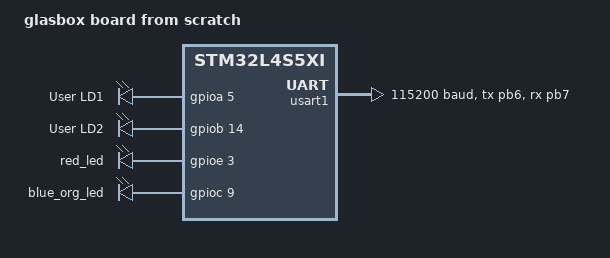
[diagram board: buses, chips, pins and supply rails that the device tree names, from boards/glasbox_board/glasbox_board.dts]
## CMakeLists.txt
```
cmake_minimum_required(VERSION 3.20.0)

list(APPEND BOARD_ROOT ${CMAKE_CURRENT_SOURCE_DIR})
find_package(Zephyr REQUIRED)
project(my_zephyr_app)

target_sources(app PRIVATE src/main.cpp)

target_include_directories(app PRIVATE drivers)
add_subdirectory(drivers/my_driver)
```

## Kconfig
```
config APP_HEARTBEAT_PERIOD_MS
    int "led blinking rate (ms)"
    default 500
    range 100 2000
    help
        SETS THE TOGGLING TIME OF LED
        
source "Kconfig.zephyr"        
rsource "drivers/my_driver/Kconfig"
```

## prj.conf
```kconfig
CONFIG_GPIO=y
CONFIG_LOG=y
CONFIG_MY_DRIVER=y
CONFIG_SHELL=y
```

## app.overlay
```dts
/{
    my_driver1: my_driver {
        compatible = "my,driver";
        status = "okay";
    };
};
```

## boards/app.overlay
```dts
/{
    aliases{
    app-led = &blue_led;
};
};
```

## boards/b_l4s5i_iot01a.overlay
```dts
 
 /{
    leds{
        red_led: led_4 {
            gpios = <&gpioe 3 GPIO_ACTIVE_HIGH>;
        };

        blue_led: led_3 {
            gpios = <&gpioc 9 GPIO_ACTIVE_HIGH>;
        };
    };
 };
```

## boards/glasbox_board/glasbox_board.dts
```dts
/dts-v1/;
#include <st/l4/stm32l4s5Xi.dtsi>
#include <st/l4/stm32l4s5vitx-pinctrl.dtsi>
/ {
	model = "glasbox board from scratch";
	compatible = "glasbox,glasbox_board";

    aliases {
        led0 = &green_led_1;
        led1 = &green_led_2;
        led2 = &red_led;
        led3 = &blue_org_led;
    };

    chosen {
		zephyr,console = &usart1;
		zephyr,shell-uart = &usart1;
        zephyr,sram = &sram0;
		zephyr,flash = &flash0;
		zephyr,code-partition = &slot0_partition;
    };

    leds {
        compatible = "gpio-leds";
        green_led_1: led_1 {
			gpios = <&gpioa 5 GPIO_ACTIVE_HIGH>;
			label = "User LD1";
		};

		green_led_2: led_2 {
			gpios = <&gpiob 14 GPIO_ACTIVE_HIGH>;
			label = "User LD2";
		};
         red_led: led_3 {
            gpios = <&gpioe 3 GPIO_ACTIVE_HIGH>;
        };

        blue_org_led: led_4 {
            gpios = <&gpioc 9 GPIO_ACTIVE_HIGH>;
        };
    };

 }; 

 &gpioa {
    status="okay";
 };

  &gpiob {
    status="okay";
 };

  &gpioc {
    status="okay";
 };

  &gpioe {
    status="okay";
 };

 &flash0 {
	partitions {
		#address-cells = <1>;
		#size-cells = <1>;
		ranges;

		boot_partition: partition@0 {
			compatible = "zephyr,mapped-partition";
			label = "mcuboot";
			reg = <0x0 DT_SIZE_K(64)>;
			read-only;
		};

		slot0_partition: partition@10000 {
			compatible = "zephyr,mapped-partition";
			label = "image-0";
			reg = <0x10000 DT_SIZE_K(976)>;
		};

		slot1_partition: partition@104000 {
			compatible = "zephyr,mapped-partition";
			label = "image-1";
			reg = <0x104000 DT_SIZE_K(976)>;
		};

		storage_partition: partition@1f8000 {
			compatible = "zephyr,mapped-partition";
			label = "storage";
			reg = <0x1f8000 DT_SIZE_K(32)>;
		};
	};
};

&clk_lsi {
	status = "okay";
};

&clk_hsi48 {
	status = "okay";
};

&clk_hsi {
	status = "okay";
};

&pll {
	div-m = <4>;
	mul-n = <40>;
	div-q = <2>;
	div-r = <2>;
	clocks = <&clk_hsi>;
	status = "okay";
};

&rcc {
	clocks = <&pll>;
	clock-frequency = <DT_FREQ_M(80)>;
	ahb-prescaler = <1>;
	apb1-prescaler = <1>;
	apb2-prescaler = <1>;
};

&usart1 {
	pinctrl-0 = <&usart1_tx_pb6 &usart1_rx_pb7>;
	pinctrl-names = "default";
	current-speed = <115200>;
	status = "okay";
};
```

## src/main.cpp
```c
#include <zephyr/drivers/gpio.h>
#include <zephyr/kernel.h>
#include <zephyr/logging/log.h>
#include <zephyr/drivers/sensor.h>

extern "C"{
    #include "my_driver/my_driver.h"
}
//#define SLEEP_TIME_MS 100

/* The devicetree node identifier for the "led0" alias. */
#define LED_NODE DT_ALIAS(led0)
//#define LED_NODE2 DT_NODELABEL(blue_led)
static const struct gpio_dt_spec led = GPIO_DT_SPEC_GET(LED_NODE, gpios);

LOG_MODULE_REGISTER(main, LOG_LEVEL_INF);
const struct device* driver = DEVICE_DT_GET(DT_NODELABEL(my_driver1));
int main(void)
{
    bool led_state = true;
    int data = 10;
    if (!gpio_is_ready_dt(&led)) return 0;

    if (gpio_pin_configure_dt(&led, GPIO_OUTPUT_ACTIVE) < 0) return 0;
    my_driver_set_param(driver,data);
    while (1) {
        data++;
        led_state = sensor_sample_fetch(driver);
        if (gpio_pin_set_dt(&led,led_state) < 0) return 0;
        LOG_INF("LED state: %s","ON");
        k_msleep(CONFIG_APP_HEARTBEAT_PERIOD_MS);

        led_state = sensor_channel_get(driver,SENSOR_CHAN_ALL,NULL);
        if (gpio_pin_set_dt(&led,led_state) < 0) return 0;
        k_msleep(CONFIG_APP_HEARTBEAT_PERIOD_MS);
        LOG_INF("LED state: %s","OFF");
        my_driver_set_param(driver,data);
    }
    return 0;
}
```
